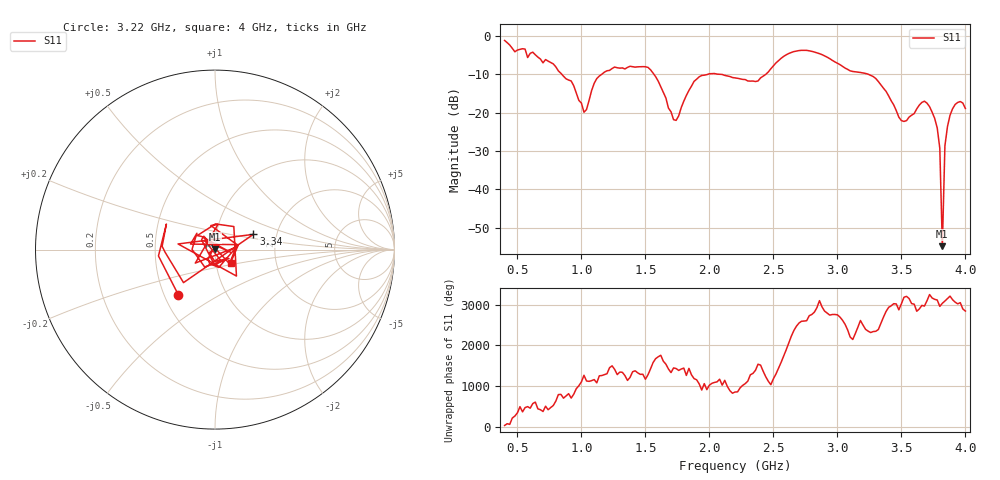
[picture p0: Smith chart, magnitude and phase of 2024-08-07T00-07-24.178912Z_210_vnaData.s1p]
!Created with skrf (http://scikit-rf.org).
# Hz S RI R 50.0
!freq ReS11 ImS11
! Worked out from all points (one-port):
!   181 points, 400 MHz to 4 GHz, reference 50 ohm
!   lowest |S11| = -54.8 dB at 3.82 GHz (marker M1), VSWR 1.00, Z = 49.8 + j0.0887 ohm
!   |S11| at or under -10 dB: 1.566 GHz to 1.988 GHz (422 MHz wide, 23.7 % of centre); 2.082 GHz to 2.441 GHz (359 MHz wide, 15.9 % of centre); 3.241 GHz to end of sweep (the widest 3 of 4)
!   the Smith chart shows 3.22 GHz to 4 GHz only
!   S11 on the Smith chart (normalised r, x): 3.22 GHz: 0.59, -0.33; 3.34 GHz: 1.51, +0.27; 4 GHz: 1.18, -0.17
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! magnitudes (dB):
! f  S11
! 400 MHz  -1.2
! 860 MHz  -10.5
! 920 MHz  -11.7
! 1.02 GHz  -19.9
! 1.12 GHz  -11.1
! 1.3 GHz  -8.4
! 1.52 GHz  -8.2
! 1.6 GHz  -11.8
! 1.72 GHz  -21.8
! 1.76 GHz  -20.8
! 1.92 GHz  -10.7
! 2.2 GHz  -10.9
! 2.38 GHz  -11.7
! 2.66 GHz  -4.1
! 2.86 GHz  -4.6
! 3.1 GHz  -9.1
! 3.22 GHz  -9.8
! 3.34 GHz  -12.8
! 3.5 GHz  -22.1
! 3.56 GHz  -21.2
! 3.68 GHz  -17.0
! 3.78 GHz  -24.0
! 3.8 GHz  -29.2
! 3.82 GHz  -54.8
! 3.84 GHz  -28.6
! 3.86 GHz  -23.6
! 3.92 GHz  -17.9
! 4 GHz  -18.9
